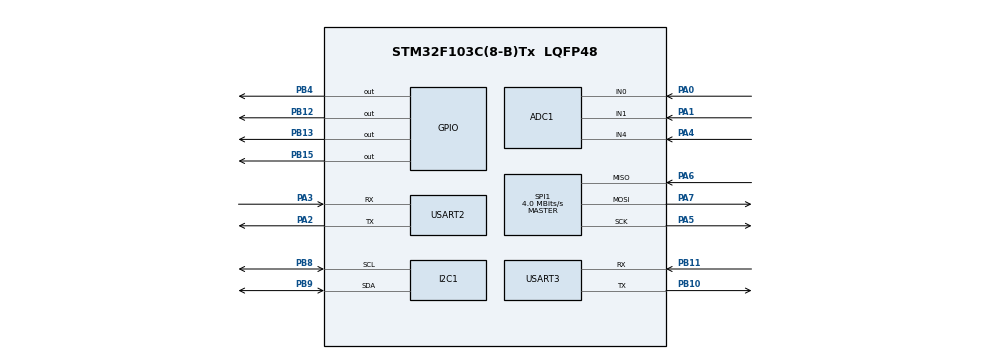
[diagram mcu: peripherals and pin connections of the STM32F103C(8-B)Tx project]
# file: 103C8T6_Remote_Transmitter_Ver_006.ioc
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ADC1.Channel-0\#ChannelRegularConversion=ADC_CHANNEL_0
ADC1.NbrOfConversionFlag=1
ADC1.Rank-0\#ChannelRegularConversion=1
ADC1.SamplingTime-0\#ChannelRegularConversion=ADC_SAMPLETIME_239CYCLES_5
ADC1.master=1
Mcu.Family=STM32F1
Mcu.Name=STM32F103C(8-B)Tx
Mcu.Package=LQFP48
NVIC.PriorityGroup=NVIC_PRIORITYGROUP_4
NVIC.USART3_IRQn=true\:0\:0\:false\:false\:true\:true\:true\:true
PA0-WKUP.Signal=ADCx_IN0
PA1.Signal=ADCx_IN1
PA13.Mode=Serial_Wire
PA13.Signal=SYS_JTMS-SWDIO
PA14.Mode=Serial_Wire
PA14.Signal=SYS_JTCK-SWCLK
PA2.Mode=Asynchronous
PA2.Signal=USART2_TX
PA3.Mode=Asynchronous
PA3.Signal=USART2_RX
PA4.Signal=ADCx_IN4
PA5.Mode=Full_Duplex_Master
PA5.Signal=SPI1_SCK
PA6.Mode=Full_Duplex_Master
PA6.Signal=SPI1_MISO
PA7.Mode=Full_Duplex_Master
PA7.Signal=SPI1_MOSI
PB10.Mode=Asynchronous
PB10.Signal=USART3_TX
PB11.Mode=Asynchronous
PB11.Signal=USART3_RX
PB12.Signal=GPIO_Output
PB13.Signal=GPIO_Output
PB15.Signal=GPIO_Output
PB4.Signal=GPIO_Output
PB8.Mode=I2C
PB8.Signal=I2C1_SCL
PB9.Mode=I2C
PB9.Signal=I2C1_SDA
PC14-OSC32_IN.Mode=LSE-External-Oscillator
PC14-OSC32_IN.Signal=RCC_OSC32_IN
PC15-OSC32_OUT.Mode=LSE-External-Oscillator
PC15-OSC32_OUT.Signal=RCC_OSC32_OUT
PD0-OSC_IN.Mode=HSE-External-Oscillator
PD0-OSC_IN.Signal=RCC_OSC_IN
PD1-OSC_OUT.Mode=HSE-External-Oscillator
PD1-OSC_OUT.Signal=RCC_OSC_OUT
ProjectManager.HeapSize=0x200
ProjectManager.StackSize=0x400
ProjectManager.TargetToolchain=STM32CubeIDE
RCC.APB1Freq_Value=8000000
RCC.APB2Freq_Value=8000000
SH.ADCx_IN0.0=ADC1_IN0,IN0
SH.ADCx_IN1.0=ADC1_IN1,IN1
SH.ADCx_IN4.0=ADC1_IN4,IN4
SPI1.CalculateBaudRate=4.0 MBits/s
SPI1.Direction=SPI_DIRECTION_2LINES
SPI1.Mode=SPI_MODE_MASTER
SPI1.VirtualType=VM_MASTER
USART2.VirtualMode=VM_ASYNC
USART3.VirtualMode=VM_ASYNC
board=custom

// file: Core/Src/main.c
/* USER CODE BEGIN Header */
/**
 ******************************************************************************
 * @file           : main.c
 * @brief          : Main program body
 ******************************************************************************
 * @attention
 *
 * Copyright (c) 2025 STMicroelectronics.
 * All rights reserved.
 *
 * This software is licensed under terms that can be found in the LICENSE file
 * in the root directory of this software component.
 * If no LICENSE file comes with this software, it is provided AS-IS.
 *
 ******************************************************************************
 */
/* USER CODE END Header */
#include "main.h"

/* USER CODE BEGIN Includes */
#include "ssd1306.h"
#include <string.h>
#include <stdio.h>
#include <stdlib.h>
#include <stdint.h>
/* USER CODE END Includes */

/* USER CODE BEGIN PTD */
/* ===== NRF24 PROTOTYPES ===== */
void Run_NRF24_Test(void);
uint8_t nrf24_read_reg(uint8_t reg);
void nrf24_write_reg(uint8_t reg, uint8_t value);

/* ===== NRF24 COMMANDS ===== */
/* USER CODE BEGIN PTD */

// --- nRF24 commands & registers ---
#define LED_PORT   GPIOB
#define LED_PIN    GPIO_PIN_4

#define BUZZ_PORT  GPIOB
#define BUZZ_PIN   GPIO_PIN_14

#define NRF_CMD_R_REGISTER   0x00
#define NRF_CMD_W_REGISTER   0x20

#define NRF_REG_CONFIG       0x00
#define NRF_REG_RF_CH        0x05
#define NRF_REG_RF_SETUP     0x06
#define NRF_REG_STATUS       0x07

// --- nRF24 pin mapping (we are using: CSN=PB12, CE=PB13) ---
#define NRF_CSN_PORT         GPIOB
#define NRF_CSN_PIN          GPIO_PIN_12

#define NRF_CE_PORT          GPIOB
#define NRF_CE_PIN           GPIO_PIN_13

// helper macros
#define CE_HIGH()  HAL_GPIO_WritePin(NRF_CE_PORT, NRF_CE_PIN, GPIO_PIN_SET)
#define CE_LOW()   HAL_GPIO_WritePin(NRF_CE_PORT, NRF_CE_PIN, GPIO_PIN_RESET)
#define CSN_HIGH() HAL_GPIO_WritePin(NRF_CSN_PORT, NRF_CSN_PIN, GPIO_PIN_SET)
#define CSN_LOW()  HAL_GPIO_WritePin(NRF_CSN_PORT, NRF_CSN_PIN, GPIO_PIN_RESET)

/* USER CODE END PTD */

ADC_HandleTypeDef hadc1;

I2C_HandleTypeDef hi2c1;

SPI_HandleTypeDef hspi1;

UART_HandleTypeDef huart2;
UART_HandleTypeDef huart3;

/* USER CODE BEGIN PV */
#define RBUF_SIZE 256
volatile uint8_t rbuf[RBUF_SIZE];
volatile uint16_t rhead = 0, rtail = 0;

/* rx byte for interrupt */
uint8_t rx3_byte;

/* temporary line parser */
char line[48];
uint8_t line_idx = 0;

uint8_t cursor = 1;
uint8_t menu = 0; // 0 = main menu displayed (after unlock), 1 = test equipment submenu
int ui_state = 0; // 0 = locked/idle, 1 = Number Mode, 2 = Arrow Mode, 3 = Unlocked (menu active)

/* button counting */
int btn_counts[10]; // index by button ID 1..9 (we'll ignore 0)
uint32_t last_digit_time = 0; // rate limit for number entry (ms)
char passbuf[5]; // 4 digits + terminator
uint8_t passlen = 0;
/* USER CODE END PV */

void SystemClock_Config(void);
static void MX_GPIO_Init(void);
static void MX_ADC1_Init(void);
static void MX_I2C1_Init(void);
static void MX_SPI1_Init(void);
static void MX_USART2_UART_Init(void);
static void MX_USART3_UART_Init(void);
/* USER CODE BEGIN PFP */
/* USER CODE BEGIN PFP */

// Add these two prototypes to fix implicit declaration errors
static inline void UART2_Print(const char *s);
void reset_all_btn_counts(void);

void Error_Handler(void);
static inline void rbuf_push(uint8_t b);
static inline int rbuf_pop(uint8_t *out);
void UART3_Send(char *s);
void ShowMainMenu(uint8_t sel);
void ShowTestEquipmentMenu(uint8_t sel);
void DrawPassScreen(void);
void OLED_PrintCenteredLine(uint8_t y, const char *s);
void ResetToPasscodeScreen(void);
void Run_Joystick_Test(void);
void Run_NRF24_Test(void);
uint8_t nrf24_read_reg(uint8_t reg);
void nrf24_write_reg(uint8_t reg, uint8_t value);
void Run_ESP32_Serial_Test(void);
void Run_Pot_Test(void);
void Run_LED_Test();
void Run_Buzzer_Test();
/* USER CODE END PFP */

int main(void) {

	/* MCU Configuration--------------------------------------------------------*/

	/* Reset of all peripherals, Initializes the Flash interface and the Systick. */
	HAL_Init();

	/* Configure the system clock */
	SystemClock_Config();

	/* Initialize all configured peripherals */
	MX_GPIO_Init();
	MX_ADC1_Init();
	MX_I2C1_Init();
	MX_SPI1_Init();
	MX_USART2_UART_Init();
	MX_USART3_UART_Init();
	/* USER CODE BEGIN 2 */

	HAL_UART_Receive_IT(&huart3, &rx3_byte, 1);

	// init SSD1306
	SSD1306_Init();

	// startup banner on OLED and UART2
	SSD1306_Clear();
	SSD1306_WriteStringXY(0, 0, "Rover Transmitter:");
	SSD1306_WriteStringXY(0, 20, "ESP32 <-> STM32");     // increased gap
	SSD1306_Update();

	HAL_Delay(5000);

	UART2_Print("=====================================\r\n");
	UART2_Print("Serial Communication of ESP32 and STM32\r\n");
	UART2_Print("RX = PB11   (STM32 RX <- ESP TX)\r\n");
	UART2_Print("TX = PB10   (STM32 TX -> ESP RX)\r\n");
	UART2_Print("=====================================\r\n");

	// Initial locked pass screen
	memset(btn_counts, 0, sizeof(btn_counts));
	ui_state = 0; // locked idle
	memset(passbuf, 0, sizeof(passbuf));
	passlen = 0;

	SSD1306_Clear();
	SSD1306_WriteStringXY(0, 0, "Welcome");
	SSD1306_WriteStringXY(0, 12, "Press BTN:3 x5 ->");
	SSD1306_WriteStringXY(0, 24, "Number Mode");
	SSD1306_WriteStringXY(0, 36, "Press BTN:1 x5 ->");
	SSD1306_WriteStringXY(0, 48, "Arrow Mode");
	SSD1306_Update();

	/* USER CODE END 2 */

	/* Infinite loop */
	while (1) {

		/* USER CODE BEGIN 3 */

		uint8_t ch;
		while (rbuf_pop(&ch)) {
			// build a line until newline
			if (ch == '\n') {
				line[line_idx] = 0;
				line_idx = 0;

				// print raw received line to UART2 as monitor
				char outline[64];
				snprintf(outline, sizeof(outline), "RX3: %s\r\n", line);
				UART2_Print(outline);

				// handle BTN: messages
				if (strncmp(line, "BTN:", 4) == 0) {
					if (btn_counts[9] >= 10) {
						ResetToPasscodeScreen();
						continue;
					}

					int bid = atoi(&line[4]);
					if (bid >= 1 && bid <= 9) {
						// increment counter for that button (trigger counters)
						btn_counts[bid]++;

						// print counter
						char tmp[48];
						snprintf(tmp, sizeof(tmp), "BTN %d count=%d\r\n", bid,
								btn_counts[bid]);
						UART2_Print(tmp);

						// check triggers for mode switching
						if (btn_counts[1] >= 5) {
							ui_state = 2; // Arrow Mode
							btn_counts[1] = 0; // reset trigger counter only
							UART2_Print("Mode -> ARROW MODE\r\n");
							SSD1306_Clear();
							SSD1306_WriteStringXY(0, 0, "MODE: ARROW");
							SSD1306_WriteStringXY(0, 14,
									"Buttons act as arrows");
							SSD1306_Update();
							HAL_Delay(600);
							ShowMainMenu(cursor);
							reset_all_btn_counts();
							continue;
						}
						if (btn_counts[3] >= 5) {
							ui_state = 1; // Number Mode
							btn_counts[3] = 0;
							UART2_Print("Mode -> NUMBER MODE\r\n");
							passlen = 0;
							memset(passbuf, 0, sizeof(passbuf));
							DrawPassScreen();
							reset_all_btn_counts();
							continue;
						}

						// If currently in Number Mode: append digits to pass
						if (ui_state == 1) {
							uint32_t now = HAL_GetTick();
							if (now - last_digit_time >= 200) { // 200ms rate limit
								if (passlen < 4) {
									passbuf[passlen++] = '0' + bid;
									passbuf[passlen] = 0;
									last_digit_time = now;
									char t[32];
									snprintf(t, sizeof(t),
											"Digit %d appended\r\n", bid);
									UART2_Print(t);
									DrawPassScreen();
								}
								if (passlen == 4) {
									if (strcmp(passbuf, "9985") == 0) {
										UART2_Print(
												"PASSCODE OK - UNLOCKED\r\n");
										SSD1306_Clear();
										SSD1306_WriteStringXY(0, 0,
												"PASSCODE OK");
										SSD1306_Update();
										HAL_Delay(600);
										ui_state = 3;
										menu = 0;
										cursor = 1;
										ShowMainMenu(cursor);
									} else {
										UART2_Print("PASSCODE WRONG\r\n");
										SSD1306_Clear();
										SSD1306_WriteStringXY(0, 0,
												"Wrong Passcode");
										SSD1306_Update();
										HAL_Delay(800);
										passlen = 0;
										memset(passbuf, 0, sizeof(passbuf));
										DrawPassScreen();
									}
								}
							}
							continue;
						}

						// ARROW MODE or UNLOCKED MENU
						if (ui_state == 2 || ui_state == 3) {

							switch (bid) {

							case 2: // UP
								UART2_Print("ACTION: UP\r\n");

								if (ui_state == 3) {

									if (menu == 0) {
										cursor--;
										if (cursor < 1)
											cursor = 3;
										ShowMainMenu(cursor);
									}

									else if (menu == 1) {
										cursor--;
										if (cursor < 1)
											cursor = 6;
										ShowTestEquipmentMenu(cursor);
									}
								}
								break;

							case 8: // DOWN
								UART2_Print("ACTION: DOWN\r\n");

								if (ui_state == 3) {

									if (menu == 0) {
										cursor++;
										if (cursor > 3)
											cursor = 1;
										ShowMainMenu(cursor);
									}

									else if (menu == 1) {
										cursor++;
										if (cursor > 6)
											cursor = 1;
										ShowTestEquipmentMenu(cursor);
									}
								}
								break;

							case 4: // LEFT
								UART2_Print("ACTION: LEFT\r\n");
								if (ui_state == 3 && menu == 1) {
									menu = 0;
									cursor = 1;
									ShowMainMenu(cursor);
								}
								break;

							case 6: // RIGHT
								UART2_Print("ACTION: RIGHT\r\n");
								break;

							case 5: // ENTER
								UART2_Print("ACTION: ENTER\r\n");

								if (ui_state == 3) {
									if (menu == 0) {
										if (cursor == 1) {
											menu = 1;
											cursor = 1;
											ShowTestEquipmentMenu(cursor);
										} else if (cursor == 2) {
											UART2_Print("Open NRF Control\n");
										} else if (cursor == 3) {
											UART2_Print("Open Autonomous\n");
										}
									}

									else if (menu == 1) {

										if (cursor == 1)
											Run_Joystick_Test();
										else if (cursor == 2)
											Run_ESP32_Serial_Test();
										else if (cursor == 3)
											Run_NRF24_Test();
										else if (cursor == 4)
											Run_Pot_Test();
										else if (cursor == 5)
											Run_LED_Test();
										else if (cursor == 6)
											Run_Buzzer_Test();

										ShowTestEquipmentMenu(cursor);
									}
								}
								break;

							case 7: // BACK
								UART2_Print("ACTION: BACK\r\n");
								if (ui_state == 3 && menu == 1) {
									menu = 0;
									cursor = 1;
									ShowMainMenu(cursor);
								}
								break;

							default:
								break;
							}

							continue;
						}
					}
				}
			} else if (ch != '\r') {
				if (line_idx < (sizeof(line) - 1)) {
					line[line_idx++] = ch;
				} else {
					line_idx = 0;
				}
			}
		}

		/* =======================================
		 JOYSTICK MENU CONTROL (ALWAYS ACTIVE)
		 ======================================= */
		if (ui_state == 3)   // ONLY when unlocked
				{
			ADC_ChannelConfTypeDef sConfig = { 0 };

			/* ==============================
			 READ Y-AXIS (UP/DOWN)
			 ============================== */
			sConfig.Channel = ADC_CHANNEL_0;   // Y-axis
			sConfig.Rank = ADC_REGULAR_RANK_1;
			sConfig.SamplingTime = ADC_SAMPLETIME_55CYCLES_5;
			HAL_ADC_ConfigChannel(&hadc1, &sConfig);

			HAL_ADC_Start(&hadc1);
			HAL_ADC_PollForConversion(&hadc1, HAL_MAX_DELAY);
			uint16_t joyY = HAL_ADC_GetValue(&hadc1);
			HAL_ADC_Stop(&hadc1);

			int16_t dy = joyY - 2700;
			const int threshold = 600;

			static uint32_t lastJoyMove = 0;
			uint32_t now = HAL_GetTick();

			/* ==============================
			 UP / DOWN MOVEMENT
			 ============================== */
			if (now - lastJoyMove > 250) {
				if (dy < -threshold) {
					UART2_Print("JOY UP\r\n");

					if (menu == 0) {
						cursor--;
						if (cursor < 1)
							cursor = 3;
						ShowMainMenu(cursor);
					} else {
						cursor--;
						if (cursor < 1)
							cursor = 6;
						ShowTestEquipmentMenu(cursor);
					}

					lastJoyMove = now;
				} else if (dy > threshold) {
					UART2_Print("JOY DOWN\r\n");

					if (menu == 0) {
						cursor++;
						if (cursor > 3)
							cursor = 1;
						ShowMainMenu(cursor);
					} else {
						cursor++;
						if (cursor > 6)
							cursor = 1;
						ShowTestEquipmentMenu(cursor);
					}

					lastJoyMove = now;
				}
			}

			/* ==============================
			 READ X-AXIS (LEFT / RIGHT)
			 ============================== */
			sConfig.Channel = ADC_CHANNEL_1;  // X-axis
			sConfig.Rank = ADC_REGULAR_RANK_1;
			HAL_ADC_ConfigChannel(&hadc1, &sConfig);

			HAL_ADC_Start(&hadc1);
			HAL_ADC_PollForConversion(&hadc1, HAL_MAX_DELAY);
			uint16_t joyX = HAL_ADC_GetValue(&hadc1);
			HAL_ADC_Stop(&hadc1);

			int16_t dx = joyX - 3150;   // X center value

			/* ==============================
			 LEFT = BACK  (like BTN 7)
			 ============================== */
			if (dx < -threshold && (now - lastJoyMove > 300)) {
				UART2_Print("JOY LEFT = BACK\r\n");

				if (menu == 1) {
					menu = 0;
					cursor = 1;
					ShowMainMenu(cursor);
				}

				lastJoyMove = now;
			}

			/* ==============================
			 RIGHT = ENTER (like BTN 5)
			 ============================== */
			if (dx > threshold && (now - lastJoyMove > 300)) {
				UART2_Print("JOY RIGHT = ENTER\r\n");

				if (menu == 0) {
					if (cursor == 1) {
						menu = 1;
						cursor = 1;
						ShowTestEquipmentMenu(cursor);
					} else if (cursor == 2) {
						UART2_Print("Open NRF Control\n");
					} else if (cursor == 3) {
						UART2_Print("Open Autonomous\n");
					}
				} else if (menu == 1) {
					if (cursor == 1)
						Run_Joystick_Test();
					else if (cursor == 2)
						Run_ESP32_Serial_Test();
					else if (cursor == 3)
						Run_NRF24_Test();
					else if (cursor == 4)
						Run_Pot_Test();
					else if (cursor == 5)
						Run_LED_Test();
					else if (cursor == 6)
						Run_Buzzer_Test();
				}

				lastJoyMove = now;
			}
		}
	}
}

void SystemClock_Config(void) {
	RCC_OscInitTypeDef RCC_OscInitStruct = { 0 };
	RCC_ClkInitTypeDef RCC_ClkInitStruct = { 0 };
	RCC_PeriphCLKInitTypeDef PeriphClkInit = { 0 };

	/** Initializes the RCC Oscillators according to the specified parameters
	 * in the RCC_OscInitTypeDef structure.
	 */
	RCC_OscInitStruct.OscillatorType = RCC_OSCILLATORTYPE_HSI;
	RCC_OscInitStruct.HSIState = RCC_HSI_ON;
	RCC_OscInitStruct.HSICalibrationValue = RCC_HSICALIBRATION_DEFAULT;
	RCC_OscInitStruct.PLL.PLLState = RCC_PLL_NONE;
	if (HAL_RCC_OscConfig(&RCC_OscInitStruct) != HAL_OK) {
		Error_Handler();
	}

	/** Initializes the CPU, AHB and APB buses clocks
	 */
	RCC_ClkInitStruct.ClockType = RCC_CLOCKTYPE_HCLK | RCC_CLOCKTYPE_SYSCLK
			| RCC_CLOCKTYPE_PCLK1 | RCC_CLOCKTYPE_PCLK2;
	RCC_ClkInitStruct.SYSCLKSource = RCC_SYSCLKSOURCE_HSI;
	RCC_ClkInitStruct.AHBCLKDivider = RCC_SYSCLK_DIV1;
	RCC_ClkInitStruct.APB1CLKDivider = RCC_HCLK_DIV1;
	RCC_ClkInitStruct.APB2CLKDivider = RCC_HCLK_DIV1;

	if (HAL_RCC_ClockConfig(&RCC_ClkInitStruct, FLASH_LATENCY_0) != HAL_OK) {
		Error_Handler();
	}
	PeriphClkInit.PeriphClockSelection = RCC_PERIPHCLK_ADC;
	PeriphClkInit.AdcClockSelection = RCC_ADCPCLK2_DIV2;
	if (HAL_RCCEx_PeriphCLKConfig(&PeriphClkInit) != HAL_OK) {
		Error_Handler();
	}
}

static void MX_ADC1_Init(void) {

	ADC_ChannelConfTypeDef sConfig = { 0 };

	/** Common config
	 */
	hadc1.Instance = ADC1;
	hadc1.Init.ScanConvMode = ADC_SCAN_DISABLE;
	hadc1.Init.ContinuousConvMode = DISABLE;
	hadc1.Init.DiscontinuousConvMode = DISABLE;
	hadc1.Init.ExternalTrigConv = ADC_SOFTWARE_START;
	hadc1.Init.DataAlign = ADC_DATAALIGN_RIGHT;
	hadc1.Init.NbrOfConversion = 1;
	if (HAL_ADC_Init(&hadc1) != HAL_OK) {
		Error_Handler();
	}

	/** Configure Regular Channel
	 */
	sConfig.Channel = ADC_CHANNEL_0;
	sConfig.Rank = ADC_REGULAR_RANK_1;
	sConfig.SamplingTime = ADC_SAMPLETIME_239CYCLES_5;
	if (HAL_ADC_ConfigChannel(&hadc1, &sConfig) != HAL_OK) {
		Error_Handler();
	}

}

static void MX_I2C1_Init(void) {

	hi2c1.Instance = I2C1;
	hi2c1.Init.ClockSpeed = 100000;
	hi2c1.Init.DutyCycle = I2C_DUTYCYCLE_2;
	hi2c1.Init.OwnAddress1 = 0;
	hi2c1.Init.AddressingMode = I2C_ADDRESSINGMODE_7BIT;
	hi2c1.Init.DualAddressMode = I2C_DUALADDRESS_DISABLE;
	hi2c1.Init.OwnAddress2 = 0;
	hi2c1.Init.GeneralCallMode = I2C_GENERALCALL_DISABLE;
	hi2c1.Init.NoStretchMode = I2C_NOSTRETCH_DISABLE;
	if (HAL_I2C_Init(&hi2c1) != HAL_OK) {
		Error_Handler();
	}

}

static void MX_SPI1_Init(void) {

	/* SPI1 parameter configuration*/
	hspi1.Instance = SPI1;
	hspi1.Init.Mode = SPI_MODE_MASTER;
	hspi1.Init.Direction = SPI_DIRECTION_2LINES;
	hspi1.Init.DataSize = SPI_DATASIZE_8BIT;
	hspi1.Init.CLKPolarity = SPI_POLARITY_LOW;
	hspi1.Init.CLKPhase = SPI_PHASE_1EDGE;
	hspi1.Init.NSS = SPI_NSS_SOFT;
	hspi1.Init.BaudRatePrescaler = SPI_BAUDRATEPRESCALER_2;
	hspi1.Init.FirstBit = SPI_FIRSTBIT_MSB;
	hspi1.Init.TIMode = SPI_TIMODE_DISABLE;
	hspi1.Init.CRCCalculation = SPI_CRCCALCULATION_DISABLE;
	hspi1.Init.CRCPolynomial = 10;
	if (HAL_SPI_Init(&hspi1) != HAL_OK) {
		Error_Handler();
	}

}

static void MX_USART2_UART_Init(void) {

	huart2.Instance = USART2;
	huart2.Init.BaudRate = 115200;
	huart2.Init.WordLength = UART_WORDLENGTH_8B;
	huart2.Init.StopBits = UART_STOPBITS_1;
	huart2.Init.Parity = UART_PARITY_NONE;
	huart2.Init.Mode = UART_MODE_TX_RX;
	huart2.Init.HwFlowCtl = UART_HWCONTROL_NONE;
	huart2.Init.OverSampling = UART_OVERSAMPLING_16;
	if (HAL_UART_Init(&huart2) != HAL_OK) {
		Error_Handler();
	}

}

static void MX_USART3_UART_Init(void) {

	huart3.Instance = USART3;
	huart3.Init.BaudRate = 115200;
	huart3.Init.WordLength = UART_WORDLENGTH_8B;
	huart3.Init.StopBits = UART_STOPBITS_1;
	huart3.Init.Parity = UART_PARITY_NONE;
	huart3.Init.Mode = UART_MODE_TX_RX;
	huart3.Init.HwFlowCtl = UART_HWCONTROL_NONE;
	huart3.Init.OverSampling = UART_OVERSAMPLING_16;
	if (HAL_UART_Init(&huart3) != HAL_OK) {
		Error_Handler();
	}

}

static void MX_GPIO_Init(void) {
	GPIO_InitTypeDef GPIO_InitStruct = { 0 };

	/* GPIO Ports Clock Enable */
	__HAL_RCC_GPIOC_CLK_ENABLE();
	__HAL_RCC_GPIOD_CLK_ENABLE();
	__HAL_RCC_GPIOA_CLK_ENABLE();
	__HAL_RCC_GPIOB_CLK_ENABLE();

	/*Configure GPIO pin Output Level */
	HAL_GPIO_WritePin(GPIOB,
	GPIO_PIN_12 | GPIO_PIN_13 | GPIO_PIN_15 | GPIO_PIN_4, GPIO_PIN_RESET);

	/*Configure GPIO pins : PB12 PB13 PB15 PB4 */
	GPIO_InitStruct.Pin = GPIO_PIN_12 | GPIO_PIN_13 | GPIO_PIN_15 | GPIO_PIN_4;
	GPIO_InitStruct.Mode = GPIO_MODE_OUTPUT_PP;
	GPIO_InitStruct.Pull = GPIO_NOPULL;
	GPIO_InitStruct.Speed = GPIO_SPEED_FREQ_LOW;
	HAL_GPIO_Init(GPIOB, &GPIO_InitStruct);

}

/* USER CODE BEGIN 4 */

static inline void UART2_Print(const char *s) {
	HAL_UART_Transmit(&huart2, (uint8_t*) s, strlen(s), HAL_MAX_DELAY);
}

/* ---------- ring buffer helpers ---------- */
static inline void rbuf_push(uint8_t b) {
	uint16_t next = (rhead + 1) & (RBUF_SIZE - 1);
	if (next != rtail) {
		rbuf[rhead] = b;
		rhead = next;
	}
}

static inline int rbuf_pop(uint8_t *out) {
	if (rtail == rhead)
		return 0;
	*out = rbuf[rtail];
	rtail = (rtail + 1) & (RBUF_SIZE - 1);
	return 1;
}

/* UART3 RX complete callback */
void HAL_UART_RxCpltCallback(UART_HandleTypeDef *huart) {
	if (huart->Instance == USART3) {
		rbuf_push(rx3_byte);
		HAL_UART_Receive_IT(&huart3, &rx3_byte, 1);
	}
}

/* Send string to ESP32 (UART3) */
void UART3_Send(char *s) {
	HAL_UART_Transmit(&huart3, (uint8_t*) s, strlen(s), HAL_MAX_DELAY);
}

/* ---------- SSD1306 UI helpers ---------- */

void DrawPassScreen(void) {
	SSD1306_Clear();

	SSD1306_WriteStringXY(0, 0, "MODE: NUMBER");
	SSD1306_WriteStringXY(0, 12, "Enter Pass:");

	char disp[16];
	snprintf(disp, sizeof(disp), "PASS: %c%c%c%c",
			(passlen > 0 ? passbuf[0] : '_'), (passlen > 1 ? passbuf[1] : '_'),
			(passlen > 2 ? passbuf[2] : '_'), (passlen > 3 ? passbuf[3] : '_'));

	SSD1306_WriteStringXY(0, 28, disp);

	SSD1306_Update();
}

void ShowMainMenu(uint8_t sel) {
	SSD1306_Clear();
	SSD1306_WriteStringXY(0, 5,
			(sel == 1) ? "> 1) Test Equipment" : "  1) Test Equipment");
	SSD1306_WriteStringXY(0, 20,
			(sel == 2) ? "> 2) NRF Control" : "  2) NRF Control");
	SSD1306_WriteStringXY(0, 35,
			(sel == 3) ? "> 3) Autonomous Ctrl" : "  3) Autonomous Ctrl");
	SSD1306_Update();
}

void ShowTestEquipmentMenu(uint8_t sel) {
	const uint8_t total = 6;
	const uint8_t items_on_screen = 3;     // show 3 items with big spacing

	SSD1306_Clear();

	// ---- Determine window start ----
	uint8_t start;

	if (sel == 1)
		start = 1;
	else if (sel == total)
		start = total - 2;
	else
		start = sel - 1;

	// ---- Draw visible 3 items ----
	for (uint8_t i = 0; i < items_on_screen; i++) {

		uint8_t item = start + i;
		if (item > total)
			break;

		uint8_t y = i * 21;    // <<< 2-line gap spacing

		char text[22];

		if (item == 1)
			sprintf(text, "%s 1) Test Joystick", (sel == item ? ">" : " "));
		else if (item == 2)
			sprintf(text, "%s 2) ESP32 Serial", (sel == item ? ">" : " "));
		else if (item == 3)
			sprintf(text, "%s 3) NRF Module", (sel == item ? ">" : " "));
		else if (item == 4)
			sprintf(text, "%s 4) Potentiometer", (sel == item ? ">" : " "));
		else if (item == 5)
			sprintf(text, "%s 5) Blink LED", (sel == item ? ">" : " "));
		else if (item == 6)
			sprintf(text, "%s 6) Buzzer", (sel == item ? ">" : " "));

		SSD1306_WriteStringXY(0, y, text);
	}

	SSD1306_Update();
}

void OLED_PrintCenteredLine(uint8_t y, const char *s) {
	SSD1306_Clear();
	SSD1306_WriteStringXY((128 - strlen(s) * 6) / 2, y, s);
	SSD1306_Update();
}

/* ---------- utility: reset mode counters ---------- */
void reset_all_btn_counts(void) {
	for (int i = 0; i < 10; i++)
		btn_counts[i] = 0;
}
void ResetToPasscodeScreen(void) {
	// Reset all states
	ui_state = 1;   // Number mode
	menu = 0;
	cursor = 1;

	// Reset password buffer
	passlen = 0;
	memset(passbuf, 0, sizeof(passbuf));

	// Clear button counters
	reset_all_btn_counts();

	// OLED message
	SSD1306_Clear();
	SSD1306_WriteStringXY(0, 0, "RESET TRIGGERED");
	SSD1306_WriteStringXY(0, 14, "Returning to");
	SSD1306_WriteStringXY(0, 26, "Passcode Screen...");
	SSD1306_Update();
	HAL_Delay(800);

	// Now show enter-pass screen
	DrawPassScreen();

	// Debug serial print
	UART2_Print("RESET → PASSCODE SCREEN\r\n");
}

// ---------- nRF24 SPI helpers ----------

uint8_t nrf24_read_reg(uint8_t reg) {
	uint8_t cmd = NRF_CMD_R_REGISTER | (reg & 0x1F);
	uint8_t val = 0xFF;

	CSN_LOW();  // CSN LOW = start SPI transaction

	HAL_SPI_Transmit(&hspi1, &cmd, 1, HAL_MAX_DELAY);
	HAL_SPI_Receive(&hspi1, &val, 1, HAL_MAX_DELAY);

	CSN_HIGH(); // CSN HIGH = end SPI transaction

	return val;
}

void nrf24_write_reg(uint8_t reg, uint8_t value) {
	uint8_t buf[2];
	buf[0] = NRF_CMD_W_REGISTER | (reg & 0x1F);
	buf[1] = value;

	CSN_LOW();
	HAL_SPI_Transmit(&hspi1, buf, 2, HAL_MAX_DELAY);
	CSN_HIGH();
}

void Run_Joystick_Test(void) {
	UART2_Print("=== JOYSTICK TEST STARTED ===\r\n");

	SSD1306_Clear();
	SSD1306_WriteStringXY(0, 0, "Joystick Test");
	SSD1306_WriteStringXY(0, 14, "Reading values...");
	SSD1306_Update();

	uint16_t centerY = 2700;
	uint16_t centerX = 3150;

	const int deadzone = 300;
	const int threshold = 600;

	uint16_t joyY, joyX;
	int16_t dy, dx;
	char buffer[60];

	while (1) {

		/* ========== READ BTN FROM ESP32 ========== */
		uint8_t ch;
		while (rbuf_pop(&ch)) {

			if (ch == '\n') {
				line[line_idx] = 0;
				line_idx = 0;

				if (strncmp(line, "BTN:", 4) == 0) {
					int bid = atoi(&line[4]);
					btn_counts[bid]++;

					/* EXIT ON BUTTON 7 */
					if (bid == 7) {
						btn_counts[7] = 0;
						UART2_Print("Exiting Joystick Test...\r\n");

						SSD1306_Clear();
						SSD1306_WriteStringXY(0, 0, "Exiting...");
						SSD1306_Update();

						HAL_Delay(300);
						return;
					}
				}
			} else if (ch != '\r') {
				if (line_idx < sizeof(line) - 1)
					line[line_idx++] = ch;
				else
					line_idx = 0;
			}
		}

		/* ========== READ ADC Y ========== */
		ADC_ChannelConfTypeDef sConfig = { 0 };
		sConfig.Channel = ADC_CHANNEL_0;
		sConfig.Rank = ADC_REGULAR_RANK_1;
		sConfig.SamplingTime = ADC_SAMPLETIME_55CYCLES_5;
		HAL_ADC_ConfigChannel(&hadc1, &sConfig);

		HAL_ADC_Start(&hadc1);
		HAL_ADC_PollForConversion(&hadc1, HAL_MAX_DELAY);
		joyY = HAL_ADC_GetValue(&hadc1);

		/* ========== READ ADC X ========== */
		sConfig.Channel = ADC_CHANNEL_1;
		HAL_ADC_ConfigChannel(&hadc1, &sConfig);

		HAL_ADC_Start(&hadc1);
		HAL_ADC_PollForConversion(&hadc1, HAL_MAX_DELAY);
		joyX = HAL_ADC_GetValue(&hadc1);
		HAL_ADC_Stop(&hadc1);

		/* ---------- PROCESS ---------- */
		dy = joyY - centerY;
		dx = joyX - centerX;

		if (abs(dy) < deadzone)
			dy = 0;
		if (abs(dx) < deadzone)
			dx = 0;

		if (dy < -threshold)
			sprintf(buffer, "UP      Value: 0\r\n");
		else if (dy > threshold)
			sprintf(buffer, "DOWN    Value: 4095\r\n");
		else if (dx < -threshold)
			sprintf(buffer, "RIGHT    Value: 0\r\n");
		else if (dx > threshold)
			sprintf(buffer, "LEFT   Value: 4095\r\n");
		else
			sprintf(buffer, "CENTER  Y=%u  X=%u\r\n", joyY, joyX);

		UART2_Print(buffer);

		/* ---------- OLED UPDATE ---------- */
		SSD1306_Clear();
		SSD1306_WriteStringXY(0, 0, "Joystick Test");

		if (dy < -threshold)
			SSD1306_WriteStringXY(0, 16, "UP      Val:0");
		else if (dy > threshold)
			SSD1306_WriteStringXY(0, 16, "DOWN    Val:4095");
		else if (dx < -threshold)
			SSD1306_WriteStringXY(0, 16, "RIGHT    Val:0");
		else if (dx > threshold)
			SSD1306_WriteStringXY(0, 16, "LEFT   Val:4095");
		else {
			char mid[32];
			sprintf(mid, "CEN Y=%u X=%u", joyY, joyX);
			SSD1306_WriteStringXY(0, 16, mid);
		}

		SSD1306_Update();

		HAL_Delay(120);
	}
}

void Run_ESP32_Serial_Test(void) {

	UART2_Print("=== ESP32 SERIAL TEST STARTED ===\r\n");

	SSD1306_Clear();
	SSD1306_WriteStringXY(0, 0, "ESP32 Serial Test");
	SSD1306_WriteStringXY(0, 14, "Send 1-9 from ESP");
	SSD1306_WriteStringXY(0, 26, "5x2 = Exit");
	SSD1306_Update();

	int five_press = 0;  // counter for EXIT

	line_idx = 0;

	while (1) {

		uint8_t ch;
		while (rbuf_pop(&ch)) {

			if (ch == '\n') {
				line[line_idx] = 0;
				line_idx = 0;

				// expecting BTN:X
				if (strncmp(line, "BTN:", 4) == 0) {

					int bid = atoi(&line[4]);

					char msg[32];
					snprintf(msg, sizeof(msg), "ESP Sent: %d\r\n", bid);
					UART2_Print(msg);

					// display on OLED
					SSD1306_Clear();
					SSD1306_WriteStringXY(0, 0, "ESP32 Serial Test");

					char num[16];
					sprintf(num, "Number: %d", bid);
					SSD1306_WriteStringXY(0, 16, num);
					SSD1306_WriteStringXY(0, 32, "Press 5 two times");
					SSD1306_Update();

					/* ===== EXIT LOGIC ===== */
					if (bid == 5) {
						five_press++;
						if (five_press >= 2) {
							five_press = 0;

							UART2_Print("Exiting ESP32 Serial Test...\r\n");

							SSD1306_Clear();
							SSD1306_WriteStringXY(0, 0, "Exiting...");
							SSD1306_Update();

							HAL_Delay(300);
							return;
						}
					} else {
						// print all other numbers unlimited times
						five_press = 0; // reset exit counter
					}
				}
			} else if (ch != '\r') {
				if (line_idx < sizeof(line) - 1)
					line[line_idx++] = ch;
				else
					line_idx = 0;
			}
		}

		HAL_Delay(5);
	}
}

void Run_NRF24_Test(void) {
	UART2_Print("=== nRF24 SELF TEST ===\r\n");

	// Ensure correct idle states
	CSN_HIGH();
	CE_LOW();
	HAL_Delay(5);

	// Write CONFIG = PWR_UP + CRC (0x0A) like your working test code
	nrf24_write_reg(NRF_REG_CONFIG, 0x0A);
	HAL_Delay(5);

	// Read back registers
	uint8_t cfg = nrf24_read_reg(NRF_REG_CONFIG);
	uint8_t rfch = nrf24_read_reg(NRF_REG_RF_CH);
	uint8_t rfst = nrf24_read_reg(NRF_REG_RF_SETUP);
	uint8_t stat = nrf24_read_reg(NRF_REG_STATUS);

	// Print to UART (TeraTerm)
	char msg[64];

	snprintf(msg, sizeof(msg), "CONFIG   = 0x%02X\r\n", cfg);
	UART2_Print(msg);

	snprintf(msg, sizeof(msg), "RF_CH    = 0x%02X\r\n", rfch);
	UART2_Print(msg);

	snprintf(msg, sizeof(msg), "RF_SETUP = 0x%02X\r\n", rfst);
	UART2_Print(msg);

	snprintf(msg, sizeof(msg), "STATUS   = 0x%02X\r\n", stat);
	UART2_Print(msg);

	if (cfg == 0x0A)
		UART2_Print("nRF24 DETECTED OK\r\n");
	else
		UART2_Print("nRF24 NOT RESPONDING\r\n");

	// ---------- OLED DISPLAY ----------
	SSD1306_Clear();

	char line1[20];
	char line2[20];

	snprintf(line1, sizeof(line1), "CFG:%02X CH:%02X", cfg, rfch);
	snprintf(line2, sizeof(line2), "SET:%02X ST:%02X", rfst, stat);

	SSD1306_WriteStringXY(0, 14, line1);
	SSD1306_WriteStringXY(0, 28, line2);
	SSD1306_WriteStringXY(0, 42, (cfg == 0x0A) ? "DETECTED OK" : "NO RESPONSE");

	SSD1306_Update();

	// ---------- WAIT FOR BUTTON 7 (BACK) ----------
	memset(btn_counts, 0, sizeof(btn_counts));
	line_idx = 0;

	while (1) {
		uint8_t ch;
		while (rbuf_pop(&ch)) {
			if (ch == '\n') {
				line[line_idx] = 0;
				line_idx = 0;

				if (strncmp(line, "BTN:", 4) == 0) {
					int bid = atoi(&line[4]);
					if (bid == 7)   // BACK button
							{
						UART2_Print("Exiting nRF24 Test...\r\n");
						HAL_Delay(200);
						return;     // go back to menu
					}
				}
			} else if (ch != '\r') {
				if (line_idx < sizeof(line) - 1)
					line[line_idx++] = ch;
				else
					line_idx = 0;
			}
		}

		HAL_Delay(1);
	}
}
void Run_Pot_Test(void) {
	UART2_Print("=== POTENTIOMETER TEST STARTED ===\r\n");

	SSD1306_Clear();
	SSD1306_WriteStringXY(0, 0, "Potentiometer Test");
	SSD1306_WriteStringXY(0, 14, "Reading A4...");
	SSD1306_Update();

	line_idx = 0;
	memset(btn_counts, 0, sizeof(btn_counts));

	ADC_ChannelConfTypeDef sConfig = { 0 };

	while (1) {
		/* ---------- CHECK FOR BACK BUTTON ---------- */
		uint8_t ch;
		while (rbuf_pop(&ch)) {
			if (ch == '\n') {
				line[line_idx] = 0;
				line_idx = 0;

				if (strncmp(line, "BTN:", 4) == 0) {
					int bid = atoi(&line[4]);

					if (bid == 7) {
						UART2_Print("Exiting Pot Test...\r\n");

						SSD1306_Clear();
						SSD1306_WriteStringXY(0, 0, "Exiting...");
						SSD1306_Update();

						HAL_Delay(300);
						return;
					}
				}
			} else if (ch != '\r') {
				if (line_idx < sizeof(line) - 1)
					line[line_idx++] = ch;
				else
					line_idx = 0;
			}
		}

		/* ---------- ADC READ (A4 = ADC1_IN4) ---------- */
		sConfig.Channel = ADC_CHANNEL_4;
		sConfig.Rank = ADC_REGULAR_RANK_1;
		sConfig.SamplingTime = ADC_SAMPLETIME_55CYCLES_5;
		HAL_ADC_ConfigChannel(&hadc1, &sConfig);

		HAL_ADC_Start(&hadc1);
		HAL_ADC_PollForConversion(&hadc1, HAL_MAX_DELAY);
		uint16_t pot = HAL_ADC_GetValue(&hadc1);
		HAL_ADC_Stop(&hadc1);

		/* ---------- SERIAL PRINT ---------- */
		char msg[40];
		snprintf(msg, sizeof(msg), "POT Value = %u\r\n", pot);
		UART2_Print(msg);

		/* ---------- OLED UPDATE ---------- */
		SSD1306_Clear();
		SSD1306_WriteStringXY(0, 0, "Potentiometer Test");

		char line1[20];
		sprintf(line1, "RAW: %u", pot);
		SSD1306_WriteStringXY(0, 16, line1);

		/* Percentage (0–4095) */
		uint8_t percent = (pot * 100) / 4095;

		char line2[20];
		sprintf(line2, "PERC: %d%%", percent);
		SSD1306_WriteStringXY(0, 32, line2);

		SSD1306_WriteStringXY(0, 50, "Press 7 to Back");

		SSD1306_Update();

		HAL_Delay(150);
	}
}
void Run_LED_Test(void) {
	UART2_Print("=== LED TEST STARTED ===\r\n");

	SSD1306_Clear();
	SSD1306_WriteStringXY(0, 0, "LED Test (PB4)");
	SSD1306_WriteStringXY(0, 14, "Blinking every");
	SSD1306_WriteStringXY(0, 28, "500 ms...");
	SSD1306_WriteStringXY(0, 50, "Press 7 to Exit");
	SSD1306_Update();

	line_idx = 0;

	while (1) {
// Read ESP32 BTN input
		uint8_t ch;
		while (rbuf_pop(&ch)) {
			if (ch == '\n') {
				line[line_idx] = 0;
				line_idx = 0;

				if (strncmp(line, "BTN:", 4) == 0) {
					int bid = atoi(&line[4]);
					if (bid == 7) {
						UART2_Print("Exiting LED Test...\r\n");
						HAL_GPIO_WritePin(LED_PORT, LED_PIN, GPIO_PIN_RESET);
						HAL_Delay(200);
						return;
					}
				}
			} else if (ch != '\r') {
				if (line_idx < sizeof(line) - 1)
					line[line_idx++] = ch;
				else
					line_idx = 0;
			}
		}

		HAL_GPIO_TogglePin(LED_PORT, LED_PIN);
		HAL_Delay(500);
	}
}

void Run_Buzzer_Test(void) {
	UART2_Print("=== BUZZER TEST STARTED ===\r\n");

	SSD1306_Clear();
	SSD1306_WriteStringXY(0, 0, "Buzzer Test (PB15)");
	SSD1306_WriteStringXY(0, 14, "Buzzing every");
	SSD1306_WriteStringXY(0, 28, "500 ms...");
	SSD1306_WriteStringXY(0, 50, "Press 7 to Exit");
	SSD1306_Update();

	line_idx = 0;

	while (1) {
		uint8_t ch;
		while (rbuf_pop(&ch)) {
			if (ch == '\n') {
				line[line_idx] = 0;
				line_idx = 0;

				if (strncmp(line, "BTN:", 4) == 0) {
					int bid = atoi(&line[4]);
					if (bid == 7) {
						UART2_Print("Exiting Buzzer Test...\r\n");
						HAL_GPIO_WritePin(BUZZ_PORT, BUZZ_PIN, GPIO_PIN_RESET);
						HAL_Delay(200);
						return;
					}
				}
			} else if (ch != '\r') {
				if (line_idx < sizeof(line) - 1)
					line[line_idx++] = ch;
				else
					line_idx = 0;
			}
		}

		HAL_GPIO_TogglePin(BUZZ_PORT, BUZZ_PIN);
		HAL_Delay(500);
	}
}

/* USER CODE END 4 */

void Error_Handler(void) {
	__disable_irq();
	while (1) {
	}
}
